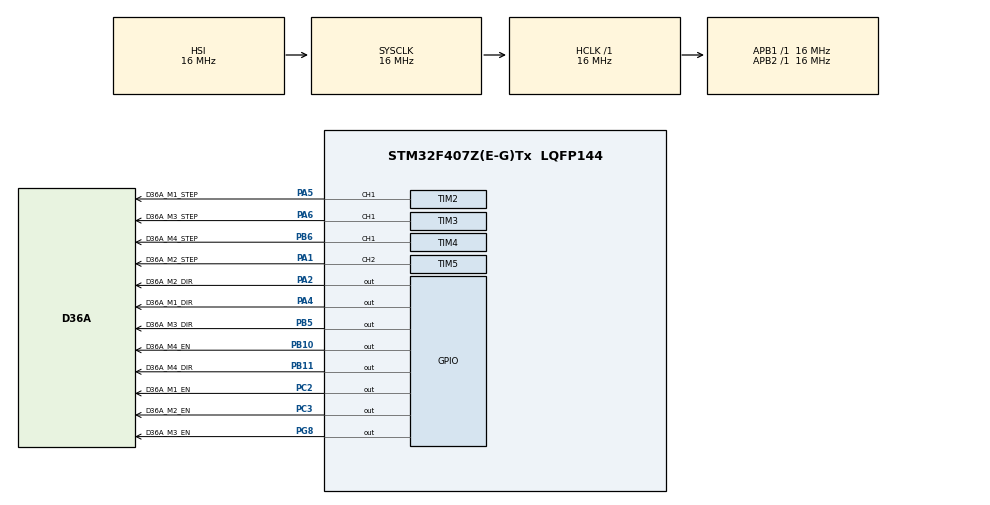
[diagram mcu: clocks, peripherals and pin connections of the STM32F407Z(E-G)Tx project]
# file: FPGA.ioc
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Mcu.Family=STM32F4
Mcu.Name=STM32F407Z(E-G)Tx
Mcu.Package=LQFP144
NVIC.PriorityGroup=NVIC_PRIORITYGROUP_4
NVIC.TIM2_IRQn=true\:1\:0\:false\:false\:true\:true\:true\:true
NVIC.TIM3_IRQn=true\:1\:0\:false\:false\:true\:true\:true\:true
NVIC.TIM4_IRQn=true\:1\:0\:false\:false\:true\:true\:true\:true
NVIC.TIM5_IRQn=true\:1\:0\:false\:false\:true\:true\:true\:true
PA1.GPIO_Label=D36A_M2_STEP
PA1.GPIO_PuPd=GPIO_PULLDOWN
PA1.GPIO_Speed=GPIO_SPEED_FREQ_LOW
PA1.Signal=S_TIM5_CH2
PA13.Mode=Serial_Wire
PA13.Signal=SYS_JTMS-SWDIO
PA14.Mode=Serial_Wire
PA14.Signal=SYS_JTCK-SWCLK
PA2.GPIO_Label=D36A_M2_DIR
PA2.GPIO_ModeDefaultOutputPP=GPIO_MODE_OUTPUT_PP
PA2.GPIO_PuPd=GPIO_PULLDOWN
PA2.GPIO_Speed=GPIO_SPEED_FREQ_LOW
PA2.PinState=GPIO_PIN_RESET
PA2.Signal=GPIO_Output
PA4.GPIO_Label=D36A_M1_DIR
PA4.GPIO_ModeDefaultOutputPP=GPIO_MODE_OUTPUT_PP
PA4.GPIO_PuPd=GPIO_PULLDOWN
PA4.GPIO_Speed=GPIO_SPEED_FREQ_LOW
PA4.PinState=GPIO_PIN_RESET
PA4.Signal=GPIO_Output
PA5.GPIO_Label=D36A_M1_STEP
PA5.GPIO_PuPd=GPIO_PULLDOWN
PA5.GPIO_Speed=GPIO_SPEED_FREQ_LOW
PA5.Signal=S_TIM2_CH1_ETR
PA6.GPIO_Label=D36A_M3_STEP
PA6.GPIO_PuPd=GPIO_PULLDOWN
PA6.GPIO_Speed=GPIO_SPEED_FREQ_LOW
PA6.Signal=S_TIM3_CH1
PB10.GPIO_Label=D36A_M4_EN
PB10.GPIO_ModeDefaultOutputPP=GPIO_MODE_OUTPUT_PP
PB10.GPIO_PuPd=GPIO_PULLDOWN
PB10.GPIO_Speed=GPIO_SPEED_FREQ_LOW
PB10.PinState=GPIO_PIN_RESET
PB10.Signal=GPIO_Output
PB11.GPIO_Label=D36A_M4_DIR
PB11.GPIO_ModeDefaultOutputPP=GPIO_MODE_OUTPUT_PP
PB11.GPIO_PuPd=GPIO_PULLDOWN
PB11.GPIO_Speed=GPIO_SPEED_FREQ_LOW
PB11.PinState=GPIO_PIN_RESET
PB11.Signal=GPIO_Output
PB5.GPIO_Label=D36A_M3_DIR
PB5.GPIO_ModeDefaultOutputPP=GPIO_MODE_OUTPUT_PP
PB5.GPIO_PuPd=GPIO_PULLDOWN
PB5.GPIO_Speed=GPIO_SPEED_FREQ_LOW
PB5.PinState=GPIO_PIN_RESET
PB5.Signal=GPIO_Output
PB6.GPIO_Label=D36A_M4_STEP
PB6.GPIO_PuPd=GPIO_PULLDOWN
PB6.GPIO_Speed=GPIO_SPEED_FREQ_LOW
PB6.Signal=S_TIM4_CH1
PC2.GPIO_Label=D36A_M1_EN
PC2.GPIO_ModeDefaultOutputPP=GPIO_MODE_OUTPUT_PP
PC2.GPIO_PuPd=GPIO_PULLDOWN
PC2.GPIO_Speed=GPIO_SPEED_FREQ_LOW
PC2.PinState=GPIO_PIN_RESET
PC2.Signal=GPIO_Output
PC3.GPIO_Label=D36A_M2_EN
PC3.GPIO_ModeDefaultOutputPP=GPIO_MODE_OUTPUT_PP
PC3.GPIO_PuPd=GPIO_PULLDOWN
PC3.GPIO_Speed=GPIO_SPEED_FREQ_LOW
PC3.PinState=GPIO_PIN_RESET
PC3.Signal=GPIO_Output
PG8.GPIO_Label=D36A_M3_EN
PG8.GPIO_ModeDefaultOutputPP=GPIO_MODE_OUTPUT_PP
PG8.GPIO_PuPd=GPIO_PULLDOWN
PG8.GPIO_Speed=GPIO_SPEED_FREQ_LOW
PG8.PinState=GPIO_PIN_RESET
PG8.Signal=GPIO_Output
ProjectManager.HeapSize=0x200
ProjectManager.StackSize=0x400
ProjectManager.TargetToolchain=CMake
RCC.AHBFreq_Value=16000000
RCC.APB1Freq_Value=16000000
RCC.APB2Freq_Value=16000000
RCC.CortexFreq_Value=16000000
RCC.HSE_VALUE=25000000
RCC.HSI_VALUE=16000000
RCC.LSE_VALUE=32768
RCC.SYSCLKFreq_VALUE=16000000
RCC.VCOOutputFreq_Value=192000000
SH.S_TIM2_CH1_ETR.0=TIM2_CH1,PWM Generation1 CH1
SH.S_TIM3_CH1.0=TIM3_CH1,PWM Generation1 CH1
SH.S_TIM4_CH1.0=TIM4_CH1,PWM Generation1 CH1
SH.S_TIM5_CH2.0=TIM5_CH2,PWM Generation2 CH2
TIM2.AutoReloadPreload=TIM_AUTORELOAD_PRELOAD_ENABLE
TIM2.Channel-PWM\ Generation1\ CH1=TIM_CHANNEL_1
TIM2.OCMode_PWM-PWM\ Generation1\ CH1=TIM_OCMODE_PWM2
TIM2.Period=65535
TIM2.Prescaler=15
TIM2.Pulse-PWM\ Generation1\ CH1=32768
TIM3.AutoReloadPreload=TIM_AUTORELOAD_PRELOAD_ENABLE
TIM3.Channel-PWM\ Generation1\ CH1=TIM_CHANNEL_1
TIM3.OCMode_PWM-PWM\ Generation1\ CH1=TIM_OCMODE_PWM2
TIM3.Period=65535
TIM3.Prescaler=15
TIM3.Pulse-PWM\ Generation1\ CH1=32768
TIM4.AutoReloadPreload=TIM_AUTORELOAD_PRELOAD_ENABLE
TIM4.Channel-PWM\ Generation1\ CH1=TIM_CHANNEL_1
TIM4.OCMode_PWM-PWM\ Generation1\ CH1=TIM_OCMODE_PWM2
TIM4.Period=65535
TIM4.Prescaler=15
TIM4.Pulse-PWM\ Generation1\ CH1=32768
TIM5.AutoReloadPreload=TIM_AUTORELOAD_PRELOAD_ENABLE
TIM5.Channel-PWM\ Generation2\ CH2=TIM_CHANNEL_2
TIM5.OCMode_PWM-PWM\ Generation2\ CH2=TIM_OCMODE_PWM2
TIM5.Period=65535
TIM5.Prescaler=15
TIM5.Pulse-PWM\ Generation2\ CH2=32768
VP_TIM2_VS_ClockSourceINT.Mode=Internal
VP_TIM3_VS_ClockSourceINT.Mode=Internal
VP_TIM4_VS_ClockSourceINT.Mode=Internal
VP_TIM5_VS_ClockSourceINT.Mode=Internal
board=custom

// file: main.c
/* USER CODE BEGIN Header */
/**
  ******************************************************************************
  * @file           : main.c
  * @brief          : Main program body
  ******************************************************************************
  * @attention
  *
  * Copyright (c) 2026 STMicroelectronics.
  * All rights reserved.
  *
  * This software is licensed under terms that can be found in the LICENSE file
  * in the root directory of this software component.
  * If no LICENSE file comes with this software, it is provided AS-IS.
  *
  ******************************************************************************
  */
/* USER CODE END Header */
#include "main.h"
#include "tim.h"
#include "gpio.h"

/* USER CODE BEGIN Includes */
#include "d36a_motor.h"
/* USER CODE END Includes */

/* USER CODE BEGIN PD */
#define MOTOR_TEST_RPM         5
/* Normal test: 1/8 microstepping, one forward revolution, then a pause. */
#define MOTOR_TEST_STARTUP_MS  10000U
#define MOTOR_TEST_PAUSE_MS    10000U
#define MOTOR_TEST_MOVE_MS     (60000U / MOTOR_TEST_RPM)
#define MOTOR_TEST_INTERVAL_MS (MOTOR_TEST_MOVE_MS + MOTOR_TEST_PAUSE_MS)

/* Saved short-burst settings; restore with the saved short-burst loop below.
#define MOTOR_TEST_STARTUP_MS  5000U
#define MOTOR_TEST_PAUSE_MS    10000U
#define MOTOR_TEST_INTERVAL_MS 200U
#define MOTOR_TEST_BURST_STEPS 20U
*/
/* USER CODE END PD */

/* USER CODE BEGIN PV */
/* Debugger observations of software execution, not measured driver signals. */
static volatile struct
{
  uint32_t firmware_tag;
  uint32_t reset_csr;
  uint32_t uptime_ms;
  /* 0=startup, 1=forward, 2=hold after forward, 3=reverse, 4=hold after reverse. */
  uint32_t phase;
  uint32_t phase_elapsed_ms;
  int32_t commanded_rpm;
  uint32_t pulse_commands_per_motor;
  uint32_t moves_started;
  uint32_t error_motor;
} d36a_diagnostic = { .firmware_tag = 0xD36A1001U };
/* USER CODE END PV */

void SystemClock_Config(void);

int main(void)
{

  /* USER CODE BEGIN 1 */
  uint32_t last_motor_start;
  uint32_t motor_wait_ms = MOTOR_TEST_STARTUP_MS;
  /* Restore only for the saved alternating-direction test:
  int16_t next_motor_rpm = MOTOR_TEST_RPM;
  */
  /* Restore only for the saved short-burst test:
  uint32_t diagnostic_remaining = MOTOR_TEST_BURST_STEPS;
  */
  d36a_diagnostic.reset_csr = RCC->CSR;
  __HAL_RCC_CLEAR_RESET_FLAGS();
  /* USER CODE END 1 */

  /* MCU Configuration--------------------------------------------------------*/

  /* Reset of all peripherals, Initializes the Flash interface and the Systick. */
  HAL_Init();

  /* Configure the system clock */
  SystemClock_Config();

  /* Initialize all configured peripherals */
  MX_GPIO_Init();
  MX_TIM2_Init();
  MX_TIM3_Init();
  MX_TIM4_Init();
  MX_TIM5_Init();
  /* USER CODE BEGIN 2 */
  /* CubeMX configured the peripherals; now wake the drivers with STEP low. */
  if (D36A_Control(1U, 0, 0U) != HAL_OK)
  {
    d36a_diagnostic.error_motor = 1U;
    Error_Handler();
  }
  last_motor_start = HAL_GetTick();
  /* USER CODE END 2 */

  /* Infinite loop */
  while (1)
  {

    /* USER CODE BEGIN 3 */
    uint32_t now = HAL_GetTick();
    d36a_diagnostic.uptime_ms = now;

    /* Active normal loop. Finite moves stop in the timer ISR. */
    if ((uint32_t)(now - last_motor_start) >= motor_wait_ms)
    {
      for (uint8_t motor = 1U; motor <= D36A_MOTOR_COUNT; ++motor)
      {
        if (D36A_Control(motor, MOTOR_TEST_RPM, D36A_PULSES_PER_REV) != HAL_OK)
        {
          d36a_diagnostic.error_motor = motor;
          Error_Handler();
        }
      }
      last_motor_start = HAL_GetTick();
      now = last_motor_start;
      motor_wait_ms = MOTOR_TEST_INTERVAL_MS;
      d36a_diagnostic.commanded_rpm = MOTOR_TEST_RPM;
      d36a_diagnostic.pulse_commands_per_motor += D36A_PULSES_PER_REV;
      ++d36a_diagnostic.moves_started;
    }

    /* Timing below describes commanded phases; it is not motion feedback. */
    uint32_t elapsed = (uint32_t)(now - last_motor_start);
    if (d36a_diagnostic.moves_started == 0U)
    {
      d36a_diagnostic.phase = 0U;
      d36a_diagnostic.phase_elapsed_ms = elapsed;
    }
    else
    {
      uint32_t phase = (d36a_diagnostic.commanded_rpm > 0) ? 1U : 3U;
      if (elapsed >= MOTOR_TEST_MOVE_MS)
      {
        ++phase;
        elapsed -= MOTOR_TEST_MOVE_MS;
      }
      d36a_diagnostic.phase = phase;
      d36a_diagnostic.phase_elapsed_ms = elapsed;
    }

    /* Saved short-burst loop. Use full-step DIP mode and the saved settings.
       Comment out the active normal loop and its phase reporting above first.
    if ((uint32_t)(now - last_motor_start) >= motor_wait_ms)
    {
      last_motor_start = now;
      motor_wait_ms = MOTOR_TEST_INTERVAL_MS;
      for (uint8_t motor = 1U; motor <= D36A_MOTOR_COUNT; ++motor)
      {
        if (D36A_Control(motor, MOTOR_TEST_RPM, 1U) != HAL_OK)
        {
          Error_Handler();
        }
      }
      if (--diagnostic_remaining == 0U)
      {
        diagnostic_remaining = MOTOR_TEST_BURST_STEPS;
        motor_wait_ms = MOTOR_TEST_PAUSE_MS;
      }
    }
    */

    /* Saved battery loop: alternate direction after each revolution and pause.
       Keep the active settings and restore next_motor_rpm above.
       Replace only the active normal loop; keep the shared phase reporting.
    if ((uint32_t)(now - last_motor_start) >= motor_wait_ms)
    {
      for (uint8_t motor = 1U; motor <= D36A_MOTOR_COUNT; ++motor)
      {
        if (D36A_Control(motor, next_motor_rpm, D36A_PULSES_PER_REV) != HAL_OK)
        {
          d36a_diagnostic.error_motor = motor;
          Error_Handler();
        }
      }
      last_motor_start = HAL_GetTick();
      now = last_motor_start;
      motor_wait_ms = MOTOR_TEST_INTERVAL_MS;
      d36a_diagnostic.commanded_rpm = next_motor_rpm;
      d36a_diagnostic.pulse_commands_per_motor += D36A_PULSES_PER_REV;
      ++d36a_diagnostic.moves_started;
      next_motor_rpm = -next_motor_rpm;
    }
    */
  }
  /* USER CODE END 3 */
}

void SystemClock_Config(void)
{
  RCC_OscInitTypeDef RCC_OscInitStruct = {0};
  RCC_ClkInitTypeDef RCC_ClkInitStruct = {0};

  /** Configure the main internal regulator output voltage
  */
  __HAL_RCC_PWR_CLK_ENABLE();
  __HAL_PWR_VOLTAGESCALING_CONFIG(PWR_REGULATOR_VOLTAGE_SCALE1);

  /** Initializes the RCC Oscillators according to the specified parameters
  * in the RCC_OscInitTypeDef structure.
  */
  RCC_OscInitStruct.OscillatorType = RCC_OSCILLATORTYPE_HSI;
  RCC_OscInitStruct.HSIState = RCC_HSI_ON;
  RCC_OscInitStruct.HSICalibrationValue = RCC_HSICALIBRATION_DEFAULT;
  RCC_OscInitStruct.PLL.PLLState = RCC_PLL_NONE;
  if (HAL_RCC_OscConfig(&RCC_OscInitStruct) != HAL_OK)
  {
    Error_Handler();
  }

  /** Initializes the CPU, AHB and APB buses clocks
  */
  RCC_ClkInitStruct.ClockType = RCC_CLOCKTYPE_HCLK|RCC_CLOCKTYPE_SYSCLK
                              |RCC_CLOCKTYPE_PCLK1|RCC_CLOCKTYPE_PCLK2;
  RCC_ClkInitStruct.SYSCLKSource = RCC_SYSCLKSOURCE_HSI;
  RCC_ClkInitStruct.AHBCLKDivider = RCC_SYSCLK_DIV1;
  RCC_ClkInitStruct.APB1CLKDivider = RCC_HCLK_DIV1;
  RCC_ClkInitStruct.APB2CLKDivider = RCC_HCLK_DIV1;

  if (HAL_RCC_ClockConfig(&RCC_ClkInitStruct, FLASH_LATENCY_0) != HAL_OK)
  {
    Error_Handler();
  }
}

void Error_Handler(void)
{
  __disable_irq();
  while (1)
  {
  }
}
